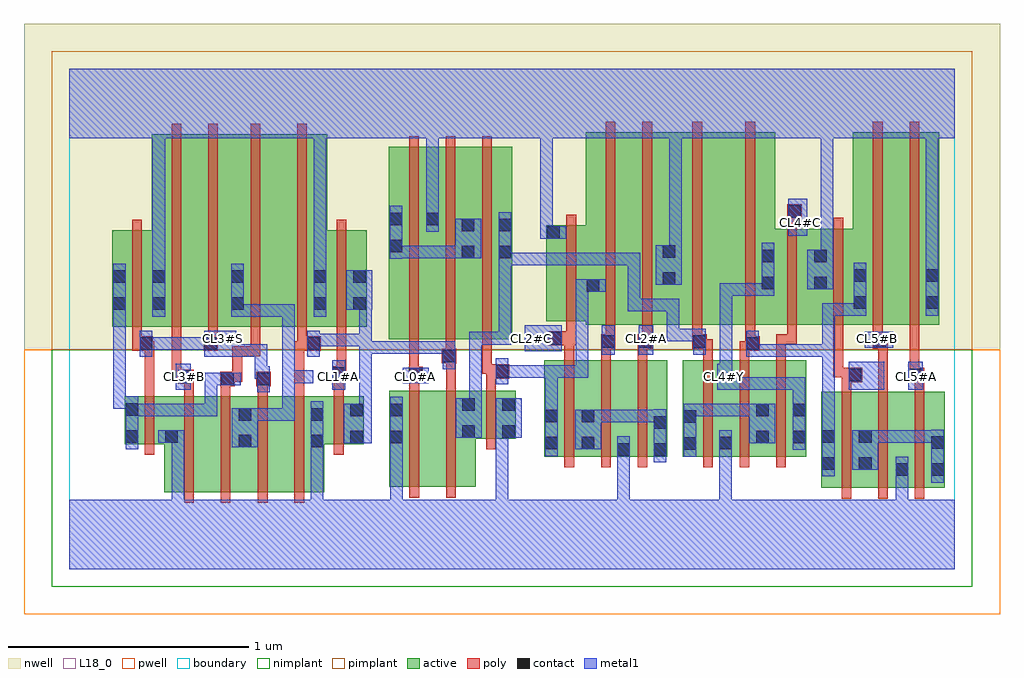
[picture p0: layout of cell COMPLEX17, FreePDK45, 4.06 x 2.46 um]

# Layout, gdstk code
import gdstk
lib = gdstk.Library(unit=1e-6, precision=1e-09)
def R(c, l, rs):  # rectangles x0, y0, x1, y1
    for r in rs: c.add(gdstk.rectangle(r[:2], r[2:], *l))
def A(c, l, x, y, w, h, nx, ny, dx, dy):  # array of equal rectangles
    R(c, l, [(x+i*dx, y+j*dy, x+i*dx+w, y+j*dy+h) for i in range(nx) for j in range(ny)])
active = (1, 0)
pwell = (2, 0)
nwell = (3, 0)
nimplant = (4, 0)
pimplant = (5, 0)
poly = (9, 0)
contact = (10, 0)
metal1 = (11, 0)
L18_0 = (18, 0)
boundary = (235, 0)

complex17 = lib.new_cell('COMPLEX17')
R(complex17, active, [(0.394,0.32,0.574,0.72), (0.574,0.32,0.76,0.72), (0.7,0.32,0.88,0.72), (0.88,0.32,1.06,0.72), (1,0.32,1.06,0.72), (3.126,0.338,3.338,0.738), (3.278,0.338,3.49,0.738), (3.43,0.338,3.638,0.738), (1.33,0.342,1.39,0.742), (1.33,0.342,1.51,0.742), (1.51,0.342,1.69,0.742), (0.7,0.356,0.76,0.674), (3.278,0.356,3.338,0.582), (3.126,0.384,3.186,0.738), (3.43,0.384,3.49,0.556), (3.578,0.384,3.638,0.738), (0.394,0.468,0.454,0.582), (1.974,0.468,2.186,0.868), (1.974,0.468,2.034,0.868), (2.126,0.468,2.334,0.868), (2.126,0.468,2.186,0.868), (2.274,0.468,2.486,0.868), (2.274,0.468,2.334,0.868), (2.426,0.468,2.486,0.868), (2.55,0.468,2.758,0.868), (2.55,0.468,2.61,0.868), (2.698,0.468,2.91,0.868), (2.698,0.468,2.758,0.854), (2.85,0.468,3.062,0.868), (2.85,0.468,2.91,0.868), (3.002,0.468,3.062,0.868), (0.23,0.52,0.29,0.72), (0.23,0.52,0.454,0.72), (1,0.52,1.224,0.72), (1.164,0.52,1.224,0.72), (1.63,0.542,1.856,0.742), (1.63,0.542,1.69,0.74), (1.796,0.542,1.856,0.742), (1.328,0.956,1.388,1.724), (1.328,0.956,1.54,1.756), (1.48,0.956,1.688,1.756), (1.628,0.956,1.84,1.756), (1.78,0.956,1.84,1.724), (0.178,1.008,0.238,1.408), (0.178,1.008,0.402,1.408), (0.342,1.008,0.522,1.808), (0.342,1.008,0.402,1.756), (0.522,1.008,0.73,1.808), (0.67,1.008,0.85,1.808), (0.67,1.008,0.73,1.724), (0.85,1.008,1.072,1.808), (1.012,1.008,1.236,1.408), (1.176,1.008,1.236,1.408), (2.146,1.016,2.326,1.816), (2.326,1.016,2.522,1.816), (2.462,1.016,2.754,1.816), (2.754,1.016,2.934,1.816), (2.874,1.016,3.152,1.416), (3.092,1.016,3.152,1.416), (3.092,1.016,3.316,1.416), (3.256,1.016,3.436,1.816), (3.256,1.016,3.316,1.724), (3.436,1.016,3.616,1.816), (3.556,1.016,3.616,1.816), (1.012,1.028,1.072,1.756), (1.982,1.03,2.042,1.43), (1.982,1.03,2.206,1.43), (2.146,1.03,2.206,1.62), (2.462,1.03,2.522,1.756), (1.628,1.038,1.688,1.724), (2.874,1.046,2.934,1.724), (1.48,1.176,1.54,1.756)])
R(complex17, pwell, [(-0.188,-0.188,3.868,0.912)])
R(complex17, nwell, [(-0.188,0.912,3.868,2.268)])
R(complex17, nimplant, [(-0.072,-0.072,3.752,0.912)])
R(complex17, pimplant, [(-0.072,0.912,3.752,2.152)])
A(complex17, poly, 3.21, 0.294, 0.04, 0.488, 3, 1, 0.152, 0)
A(complex17, poly, 2.058, 0.424, 0.04, 0.488, 3, 1, 0.152, 0)
A(complex17, poly, 2.634, 0.424, 0.04, 0.488, 3, 1, 0.152, 0)
A(complex17, poly, 1.412, 0.912, 0.04, 0.888, 3, 1, 0.152, 0)
R(complex17, poly, [(0.478,0.276,0.518,0.764), (0.63,0.276,0.67,0.764), (0.784,0.276,0.824,0.764), (0.936,0.276,0.976,0.764), (1.414,0.298,1.454,0.786), (1.566,0.298,1.606,0.786), (0.314,0.476,0.354,0.764), (1.1,0.476,1.14,0.764), (1.732,0.498,1.772,0.786), (0.314,0.724,0.354,0.948), (0.478,0.724,0.518,0.81), (0.63,0.724,0.67,0.8), (0.784,0.724,0.824,0.8), (0.936,0.724,0.976,0.948), (1.1,0.724,1.14,0.824), (3.21,0.742,3.25,0.818), (3.362,0.742,3.402,0.956), (3.514,0.742,3.554,0.818), (1.414,0.746,1.454,0.822), (1.566,0.746,1.606,0.896), (1.732,0.746,1.772,0.832), (0.628,0.76,0.688,0.82), (0.778,0.76,0.838,0.82), (0.45,0.77,0.518,0.83), (3.21,0.778,3.296,0.838), (3.492,0.778,3.554,0.838), (0.648,0.78,0.718,0.82), (0.678,0.78,0.718,0.82), (0.678,0.78,0.718,0.926), (1.41,0.782,1.47,0.842), (1.092,0.784,1.152,0.844), (0.426,0.79,0.466,1.004), (0.426,0.79,0.49,0.83), (0.45,0.79,0.49,0.83), (1.732,0.792,1.828,0.852), (3.176,0.798,3.216,1.012), (3.176,0.798,3.25,0.838), (3.21,0.798,3.25,0.838), (3.492,0.798,3.532,1.012), (3.492,0.798,3.532,0.838), (3.492,0.798,3.532,0.838), (1.412,0.802,1.452,0.842), (1.412,0.802,1.452,0.842), (1.412,0.802,1.452,0.952), (1.112,0.804,1.152,0.844), (1.112,0.804,1.152,0.844), (1.112,0.804,1.152,1.004), (1.716,0.812,1.756,0.952), (1.716,0.812,1.772,0.852), (1.732,0.812,1.772,0.852), (1.548,0.856,1.608,0.916), (1.566,0.856,1.606,0.896), (1.566,0.856,1.606,0.896), (2.058,0.872,2.098,0.97), (2.21,0.872,2.25,0.956), (2.362,0.872,2.402,0.956), (2.634,0.872,2.674,0.956), (2.786,0.872,2.826,0.948), (2.938,0.872,2.978,0.976), (1.564,0.876,1.604,0.952), (0.678,0.886,0.718,0.926), (0.678,0.886,0.794,0.926), (0.754,0.886,0.794,0.926), (0.754,0.886,0.794,1.004), (0.262,0.908,0.348,0.968), (0.308,0.908,0.348,0.948), (0.308,0.908,0.354,0.948), (0.558,0.908,0.618,0.968), (0.936,0.908,0.988,0.948), (0.948,0.908,0.988,0.948), (0.948,0.908,1.046,0.968), (2.786,0.908,2.85,0.948), (2.81,0.908,2.85,0.948), (2.81,0.908,2.87,0.968), (2.21,0.916,2.25,0.956), (2.21,0.916,2.25,0.956), (2.21,0.916,2.27,0.976), (2.362,0.916,2.402,0.956), (2.362,0.916,2.402,0.956), (2.362,0.916,2.422,0.976), (2.59,0.916,2.65,0.976), (2.61,0.916,2.65,0.956), (2.61,0.916,2.674,0.956), (3.34,0.916,3.402,0.976), (3.362,0.916,3.402,0.956), (3.362,0.916,3.402,0.956), (0.262,0.928,0.302,1.004), (0.578,0.928,0.618,1.004), (0.948,0.928,0.988,1.004), (2.81,0.928,2.85,1.012), (1.99,0.93,2.106,0.99), (2.058,0.93,2.098,0.97), (2.058,0.93,2.098,0.97), (2.23,0.936,2.27,1.012), (2.382,0.936,2.422,1.012), (2.59,0.936,2.63,1.012), (2.938,0.936,3.014,0.976), (2.974,0.936,3.014,0.976), (2.974,0.936,3.024,0.976), (2.984,0.936,3.024,1.012), (3.34,0.936,3.38,1.012), (2.066,0.95,2.106,1.026), (0.262,0.964,0.302,1.452), (0.426,0.964,0.466,1.852), (0.578,0.964,0.618,1.852), (0.754,0.964,0.794,1.852), (0.948,0.964,0.988,1.852), (1.112,0.964,1.152,1.452), (2.23,0.972,2.27,1.86), (2.382,0.972,2.422,1.86), (2.59,0.972,2.63,1.86), (2.81,0.972,2.85,1.86), (2.984,0.972,3.024,1.46), (3.176,0.972,3.216,1.46), (3.34,0.972,3.38,1.86), (3.492,0.972,3.532,1.86), (2.066,0.986,2.106,1.474), (2.984,1.42,3.024,1.496), (2.984,1.456,3.044,1.516)])
R(complex17, contact, [(3.434,0.388,3.486,0.44), (3.582,0.388,3.634,0.44), (3.13,0.414,3.182,0.466), (3.282,0.414,3.334,0.466), (2.278,0.472,2.33,0.524), (2.43,0.472,2.482,0.524), (2.554,0.496,2.606,0.548), (1.978,0.498,2.03,0.55), (2.13,0.498,2.182,0.55), (2.702,0.498,2.754,0.55), (3.582,0.5,3.634,0.552), (0.704,0.506,0.756,0.558), (1.004,0.506,1.056,0.558), (1.168,0.524,1.22,0.576), (1.334,0.524,1.386,0.576), (2.854,0.524,2.906,0.576), (3.006,0.524,3.058,0.576), (0.234,0.526,0.286,0.578), (0.398,0.526,0.45,0.578), (3.13,0.526,3.182,0.578), (3.282,0.526,3.334,0.578), (1.634,0.546,1.686,0.598), (1.8,0.546,1.852,0.598), (2.43,0.584,2.482,0.636), (2.554,0.608,2.606,0.66), (1.978,0.61,2.03,0.662), (2.13,0.61,2.182,0.662), (0.704,0.618,0.756,0.67), (1.004,0.618,1.056,0.67), (1.168,0.636,1.22,0.688), (1.334,0.636,1.386,0.688), (2.854,0.636,2.906,0.688), (3.006,0.636,3.058,0.688), (0.234,0.638,0.286,0.69), (1.634,0.658,1.686,0.71), (1.8,0.658,1.852,0.71), (0.632,0.764,0.684,0.816), (0.782,0.764,0.834,0.816), (0.454,0.774,0.506,0.826), (3.24,0.782,3.292,0.834), (3.496,0.782,3.548,0.834), (1.414,0.786,1.466,0.838), (1.096,0.788,1.148,0.84), (1.772,0.796,1.824,0.848), (1.552,0.86,1.604,0.912), (0.292,0.912,0.344,0.964), (0.562,0.912,0.614,0.964), (0.99,0.912,1.042,0.964), (2.814,0.912,2.866,0.964), (2.214,0.92,2.266,0.972), (2.366,0.92,2.418,0.972), (2.594,0.92,2.646,0.972), (3.344,0.92,3.396,0.972), (1.994,0.934,2.046,0.986), (0.182,1.078,0.234,1.13), (0.346,1.078,0.398,1.13), (0.674,1.078,0.726,1.13), (1.016,1.078,1.068,1.13), (1.18,1.078,1.232,1.13), (3.26,1.082,3.312,1.134), (3.56,1.082,3.612,1.134), (2.15,1.154,2.202,1.206), (2.878,1.164,2.93,1.216), (3.096,1.164,3.148,1.216), (2.466,1.182,2.518,1.234), (0.182,1.19,0.234,1.242), (0.346,1.19,0.398,1.242), (0.674,1.19,0.726,1.242), (1.016,1.19,1.068,1.242), (1.18,1.19,1.232,1.242), (3.26,1.194,3.312,1.246), (3.56,1.194,3.612,1.246), (2.878,1.276,2.93,1.328), (3.096,1.276,3.148,1.328), (1.632,1.292,1.684,1.344), (1.784,1.292,1.836,1.344), (2.466,1.294,2.518,1.346), (1.332,1.318,1.384,1.37), (1.986,1.374,2.038,1.426), (1.632,1.404,1.684,1.456), (1.784,1.404,1.836,1.456), (1.332,1.43,1.384,1.482), (1.484,1.43,1.536,1.482), (2.988,1.46,3.04,1.512)])
R(complex17, metal1, [(0,0,3.68,0.288), (0.426,0.236,0.478,0.288), (0.426,0.236,0.478,0.288), (0.426,0.236,0.478,0.578), (1.004,0.236,1.056,0.288), (1.004,0.236,1.056,0.288), (1.004,0.236,1.056,0.53), (1.334,0.236,1.386,0.288), (1.334,0.236,1.386,0.288), (1.334,0.236,1.386,0.548), (1.772,0.236,1.824,0.288), (1.772,0.236,1.824,0.288), (1.772,0.236,1.824,0.288), (1.772,0.236,1.824,0.288), (1.772,0.236,1.824,0.288), (1.772,0.236,1.824,0.288), (1.772,0.236,1.824,0.598), (2.278,0.236,2.33,0.288), (2.278,0.236,2.33,0.288), (2.278,0.236,2.33,0.496), (2.702,0.236,2.754,0.288), (2.702,0.236,2.754,0.288), (2.702,0.236,2.754,0.522), (3.434,0.236,3.486,0.288), (3.434,0.236,3.486,0.288), (3.434,0.236,3.486,0.412), (3.434,0.36,3.486,0.468), (3.582,0.36,3.634,0.58), (3.13,0.386,3.182,0.606), (3.254,0.414,3.362,0.578), (2.278,0.444,2.33,0.552), (2.43,0.444,2.482,0.664), (2.554,0.468,2.606,0.688), (1.978,0.47,2.03,0.69), (2.702,0.47,2.754,0.578), (1.004,0.478,1.056,0.698), (1.334,0.496,1.386,0.716), (3.006,0.496,3.058,0.716), (0.234,0.498,0.286,0.718), (2.102,0.498,2.21,0.662), (0.676,0.506,0.784,0.67), (1.14,0.524,1.258,0.688), (2.826,0.524,2.934,0.688), (0.37,0.526,0.478,0.578), (3.31,0.526,3.362,0.578), (3.31,0.526,3.362,0.578), (3.31,0.526,3.502,0.578), (3.45,0.526,3.634,0.578), (3.45,0.526,3.502,0.578), (3.45,0.526,3.502,0.578), (3.45,0.526,3.502,0.578), (1.606,0.546,1.714,0.71), (1.772,0.546,1.88,0.71), (3.13,0.554,3.182,0.606), (3.13,0.554,3.182,0.606), (3.13,0.554,3.182,0.936), (2.158,0.61,2.21,0.662), (2.158,0.61,2.21,0.662), (2.158,0.61,2.372,0.662), (2.32,0.61,2.372,0.662), (2.32,0.61,2.426,0.662), (2.374,0.61,2.426,0.662), (2.374,0.61,2.482,0.662), (0.732,0.618,0.932,0.67), (0.88,0.618,0.932,0.67), (0.88,0.618,0.938,0.67), (0.886,0.618,0.938,0.67), (0.886,0.618,0.938,0.826), (0.234,0.636,0.286,0.688), (0.234,0.636,0.286,0.688), (0.234,0.636,0.504,0.688), (0.452,0.636,0.504,0.688), (0.452,0.636,0.504,0.688), (0.452,0.636,0.504,0.688), (0.452,0.636,0.616,0.688), (0.564,0.636,0.616,0.688), (0.564,0.636,0.616,0.816), (1.206,0.636,1.258,0.688), (1.206,0.636,1.258,0.688), (1.206,0.636,1.258,0.948), (2.554,0.636,2.756,0.688), (2.704,0.636,2.756,0.688), (2.704,0.636,2.756,0.688), (2.704,0.636,2.756,0.688), (2.704,0.636,2.878,0.688), (2.826,0.636,2.878,0.688), (2.826,0.636,2.878,0.688), (1.978,0.638,2.03,0.848), (1.662,0.658,1.714,0.986), (3.006,0.664,3.058,0.798), (0.182,0.666,0.234,1.102), (0.182,0.666,0.286,0.718), (0.234,0.666,0.286,0.718), (0.782,0.736,0.834,0.844), (0.442,0.746,0.506,0.854), (1.094,0.746,1.148,0.868), (2.694,0.746,2.756,0.854), (2.704,0.746,2.93,0.798), (2.878,0.746,2.93,0.798), (2.878,0.746,2.93,0.798), (2.878,0.746,2.93,0.798), (2.878,0.746,3.058,0.798), (3.006,0.746,3.058,0.798), (3.006,0.746,3.058,0.798), (3.006,0.746,3.058,0.798), (3.24,0.746,3.386,0.862), (3.486,0.746,3.548,0.862), (0.564,0.764,0.616,0.816), (0.564,0.764,0.656,0.816), (0.604,0.764,0.712,0.816), (1.772,0.768,1.824,0.876), (0.886,0.774,0.938,0.826), (0.886,0.774,0.938,0.826), (0.886,0.774,0.938,1.102), (0.886,0.774,1.014,0.826), (1.386,0.774,1.494,0.838), (0.77,0.792,0.822,0.844), (0.77,0.792,0.834,0.844), (0.77,0.792,0.822,0.936), (1.772,0.796,1.824,0.848), (1.772,0.796,1.824,0.848), (1.772,0.796,2.03,0.848), (1.978,0.796,2.03,0.848), (1.978,0.796,2.1,0.848), (2.048,0.796,2.1,0.848), (2.048,0.796,2.156,0.848), (2.104,0.796,2.156,0.848), (2.104,0.796,2.156,1.206), (2.704,0.802,2.756,1.188), (1.552,0.832,1.604,0.948), (0.292,0.884,0.344,0.992), (0.562,0.884,0.694,0.992), (0.642,0.884,0.822,0.936), (0.77,0.884,0.822,0.936), (0.99,0.884,1.042,0.992), (2.814,0.884,2.866,0.936), (2.814,0.884,2.866,0.936), (2.814,0.884,2.866,0.992), (2.814,0.884,3.044,0.936), (2.992,0.884,3.044,0.936), (2.992,0.884,3.044,0.936), (2.992,0.884,3.044,0.936), (2.992,0.884,3.182,0.936), (3.13,0.884,3.182,0.936), (3.13,0.884,3.182,1.106), (2.214,0.892,2.268,1.014), (2.366,0.892,2.426,1.014), (2.594,0.892,2.646,1), (1.206,0.896,1.426,0.948), (1.206,0.896,1.258,0.978), (1.374,0.896,1.426,0.948), (1.374,0.896,1.426,0.948), (1.374,0.896,1.426,0.948), (1.374,0.896,1.546,0.948), (1.494,0.896,1.546,0.948), (1.494,0.896,1.604,0.948), (1.894,0.906,2.046,1.014), (0.292,0.912,0.504,0.964), (0.452,0.912,0.504,0.964), (0.452,0.912,0.504,0.964), (0.452,0.912,0.504,0.964), (0.452,0.912,0.614,0.964), (0.562,0.912,0.614,0.964), (0.562,0.912,0.614,0.964), (3.306,0.92,3.424,0.986), (0.99,0.926,1.048,0.978), (0.996,0.926,1.048,0.978), (0.996,0.926,1.258,0.978), (1.206,0.926,1.258,0.978), (1.206,0.926,1.258,0.978), (1.206,0.926,1.258,1.13), (1.662,0.934,1.714,0.986), (1.662,0.934,1.714,0.986), (1.662,0.934,1.714,0.986), (1.662,0.934,1.714,0.986), (1.662,0.934,1.714,0.986), (1.662,0.934,1.836,0.986), (1.784,0.934,1.836,0.986), (1.784,0.934,1.836,1.316), (2.484,0.948,2.536,1), (2.484,0.948,2.536,1), (2.484,0.948,2.536,1), (2.484,0.948,2.536,1.124), (2.484,0.948,2.646,1), (0.182,1.05,0.234,1.27), (0.182,1.05,0.234,1.102), (0.182,1.05,0.234,1.102), (0.346,1.05,0.398,1.27), (0.674,1.05,0.726,1.27), (0.674,1.05,0.932,1.102), (0.88,1.05,0.932,1.102), (0.88,1.05,0.938,1.102), (0.886,1.05,0.938,1.102), (1.016,1.05,1.068,1.27), (3.13,1.054,3.182,1.106), (3.13,1.054,3.182,1.106), (3.13,1.054,3.182,1.106), (3.13,1.054,3.312,1.106), (3.26,1.054,3.312,1.274), (3.56,1.054,3.612,1.274), (2.32,1.072,2.372,1.124), (2.32,1.072,2.372,1.124), (2.32,1.072,2.372,1.124), (2.32,1.072,2.536,1.124), (2.32,1.072,2.372,1.316), (2.484,1.072,2.536,1.124), (1.152,1.078,1.26,1.242), (2.704,1.136,2.756,1.188), (2.704,1.136,2.756,1.188), (2.704,1.136,2.756,1.188), (2.704,1.136,2.93,1.188), (2.878,1.136,2.93,1.356), (2.878,1.136,2.93,1.188), (2.878,1.136,2.93,1.188), (2.104,1.154,2.156,1.206), (2.104,1.154,2.156,1.206), (2.104,1.154,2.23,1.206), (3.068,1.164,3.176,1.328), (2.438,1.182,2.546,1.346), (0.346,1.218,0.398,1.844), (1.016,1.218,1.068,1.844), (3.56,1.222,3.612,1.844), (1.784,1.264,1.836,1.484), (1.784,1.264,2.044,1.316), (1.992,1.264,2.044,1.316), (1.992,1.264,2.044,1.316), (1.992,1.264,2.044,1.316), (1.992,1.264,2.044,1.316), (1.992,1.264,2.044,1.316), (1.992,1.264,2.22,1.316), (2.168,1.264,2.22,1.316), (2.168,1.264,2.22,1.316), (2.168,1.264,2.22,1.316), (2.168,1.264,2.372,1.316), (2.32,1.264,2.372,1.316), (3.124,1.276,3.176,1.844), (1.332,1.29,1.384,1.51), (1.332,1.292,1.384,1.344), (1.332,1.292,1.384,1.344), (1.332,1.292,1.546,1.344), (1.494,1.292,1.546,1.344), (1.494,1.292,1.546,1.344), (1.494,1.292,1.546,1.344), (1.494,1.292,1.656,1.344), (1.604,1.292,1.712,1.456), (2.494,1.294,2.546,1.844), (1.958,1.374,2.01,1.426), (1.958,1.374,2.01,1.426), (1.958,1.374,2.01,1.426), (1.958,1.374,2.01,1.426), (1.958,1.374,2.01,1.426), (1.958,1.374,2.01,1.426), (1.958,1.374,2.066,1.426), (1.958,1.374,2.01,1.844), (2.988,1.386,3.066,1.54), (1.484,1.402,1.536,1.51), (1.484,1.458,1.536,1.844), (0,1.792,3.68,2.08), (1.958,1.792,2.01,1.844), (1.958,1.792,2.01,1.844), (3.124,1.792,3.176,1.844), (3.124,1.792,3.176,1.844), (3.124,1.792,3.176,1.844), (3.124,1.792,3.176,1.844), (3.124,1.792,3.176,1.844), (3.124,1.792,3.176,1.844), (3.124,1.792,3.176,1.844), (3.124,1.792,3.176,1.844)])
R(complex17, L18_0, [(0,0,3.68,0.288), (0.426,0.236,0.478,0.288), (0.426,0.236,0.478,0.288), (0.426,0.236,0.478,0.578), (1.004,0.236,1.056,0.288), (1.004,0.236,1.056,0.288), (1.004,0.236,1.056,0.53), (1.334,0.236,1.386,0.288), (1.334,0.236,1.386,0.288), (1.334,0.236,1.386,0.548), (1.772,0.236,1.824,0.288), (1.772,0.236,1.824,0.288), (1.772,0.236,1.824,0.288), (1.772,0.236,1.824,0.288), (1.772,0.236,1.824,0.288), (1.772,0.236,1.824,0.288), (1.772,0.236,1.824,0.598), (2.278,0.236,2.33,0.288), (2.278,0.236,2.33,0.288), (2.278,0.236,2.33,0.496), (2.702,0.236,2.754,0.288), (2.702,0.236,2.754,0.288), (2.702,0.236,2.754,0.522), (3.434,0.236,3.486,0.288), (3.434,0.236,3.486,0.288), (3.434,0.236,3.486,0.412), (3.434,0.36,3.486,0.468), (2.278,0.444,2.33,0.552), (2.702,0.47,2.754,0.578), (1.004,0.478,1.056,0.698), (1.334,0.496,1.386,0.716), (3.006,0.496,3.058,0.716), (0.676,0.506,0.784,0.67), (0.37,0.526,0.478,0.578), (1.772,0.546,1.88,0.71), (0.732,0.618,0.932,0.67), (0.88,0.618,0.932,0.67), (0.88,0.618,0.938,0.67), (0.886,0.618,0.938,0.67), (0.886,0.618,0.938,0.826), (3.006,0.664,3.058,0.798), (0.782,0.736,0.834,0.844), (0.442,0.746,0.506,0.854), (1.094,0.746,1.148,0.868), (2.694,0.746,2.756,0.854), (2.704,0.746,2.93,0.798), (2.878,0.746,2.93,0.798), (2.878,0.746,2.93,0.798), (2.878,0.746,2.93,0.798), (2.878,0.746,3.058,0.798), (3.006,0.746,3.058,0.798), (3.006,0.746,3.058,0.798), (3.006,0.746,3.058,0.798), (3.24,0.746,3.386,0.862), (3.486,0.746,3.548,0.862), (0.454,0.774,0.506,0.826), (0.886,0.774,0.938,0.826), (0.886,0.774,0.938,0.826), (0.886,0.774,1.014,0.826), (0.886,0.774,0.938,1.102), (0.934,0.774,0.986,0.826), (1.094,0.774,1.146,0.826), (1.386,0.774,1.494,0.838), (1.414,0.774,1.466,0.826), (2.694,0.774,2.746,0.826), (3.334,0.774,3.386,0.826), (3.494,0.774,3.546,0.826), (0.77,0.792,0.822,0.844), (0.77,0.792,0.822,0.936), (0.77,0.792,0.834,0.844), (2.704,0.802,2.756,1.188), (0.292,0.884,0.344,0.992), (0.562,0.884,0.694,0.992), (0.642,0.884,0.822,0.936), (0.77,0.884,0.822,0.936), (2.214,0.892,2.268,1.014), (2.366,0.892,2.426,1.014), (1.894,0.906,2.046,1.014), (0.292,0.912,0.504,0.964), (0.452,0.912,0.504,0.964), (0.452,0.912,0.504,0.964), (0.452,0.912,0.504,0.964), (0.452,0.912,0.614,0.964), (0.562,0.912,0.614,0.964), (0.562,0.912,0.614,0.964), (3.306,0.92,3.424,0.986), (0.614,0.934,0.666,0.986), (1.894,0.934,1.946,0.986), (2.214,0.934,2.266,0.986), (2.374,0.934,2.426,0.986), (3.334,0.934,3.386,0.986), (0.346,1.05,0.398,1.27), (0.674,1.05,0.726,1.27), (0.674,1.05,0.932,1.102), (0.88,1.05,0.932,1.102), (0.88,1.05,0.938,1.102), (0.886,1.05,0.938,1.102), (1.016,1.05,1.068,1.27), (3.56,1.054,3.612,1.274), (2.704,1.136,2.756,1.188), (2.704,1.136,2.756,1.188), (2.704,1.136,2.756,1.188), (2.704,1.136,2.93,1.188), (2.878,1.136,2.93,1.188), (2.878,1.136,2.93,1.188), (2.878,1.136,2.93,1.356), (3.068,1.164,3.176,1.328), (2.438,1.182,2.546,1.346), (0.346,1.218,0.398,1.844), (1.016,1.218,1.068,1.844), (3.56,1.222,3.612,1.844), (3.124,1.276,3.176,1.844), (2.494,1.294,2.546,1.844), (1.958,1.374,2.01,1.426), (1.958,1.374,2.01,1.426), (1.958,1.374,2.01,1.426), (1.958,1.374,2.01,1.426), (1.958,1.374,2.01,1.426), (1.958,1.374,2.01,1.426), (1.958,1.374,2.066,1.426), (1.958,1.374,2.01,1.844), (2.988,1.386,3.066,1.54), (1.484,1.402,1.536,1.51), (3.014,1.414,3.066,1.466), (1.484,1.458,1.536,1.844), (0,1.792,3.68,2.08), (1.958,1.792,2.01,1.844), (1.958,1.792,2.01,1.844), (3.124,1.792,3.176,1.844), (3.124,1.792,3.176,1.844), (3.124,1.792,3.176,1.844), (3.124,1.792,3.176,1.844), (3.124,1.792,3.176,1.844), (3.124,1.792,3.176,1.844), (3.124,1.792,3.176,1.844), (3.124,1.792,3.176,1.844)])
R(complex17, boundary, [(0,0,3.68,2.08)])
complex17.add(gdstk.Label('CL0#A', (1.44,0.8), layer=11, texttype=0))
complex17.add(gdstk.Label('CL1#A', (1.12,0.8), layer=11, texttype=0))
complex17.add(gdstk.Label('CL2#A', (2.4,0.96), layer=11, texttype=0))
complex17.add(gdstk.Label('CL2#B', (2.24,0.96), layer=11, texttype=0))
complex17.add(gdstk.Label('CL2#C', (1.92,0.96), layer=11, texttype=0))
complex17.add(gdstk.Label('CL3#B', (0.48,0.8), layer=11, texttype=0))
complex17.add(gdstk.Label('CL3#S', (0.64,0.96), layer=11, texttype=0))
complex17.add(gdstk.Label('CL3#Y', (0.96,0.8), layer=11, texttype=0))
complex17.add(gdstk.Label('CL4#C', (3.04,1.44), layer=11, texttype=0))
complex17.add(gdstk.Label('CL4#Y', (2.72,0.8), layer=11, texttype=0))
complex17.add(gdstk.Label('CL5#A', (3.52,0.8), layer=11, texttype=0))
complex17.add(gdstk.Label('CL5#B', (3.36,0.96), layer=11, texttype=0))
complex17.add(gdstk.Label('CL5#C', (3.36,0.8), layer=11, texttype=0))

lib.write_gds('COMPLEX17.gds')
